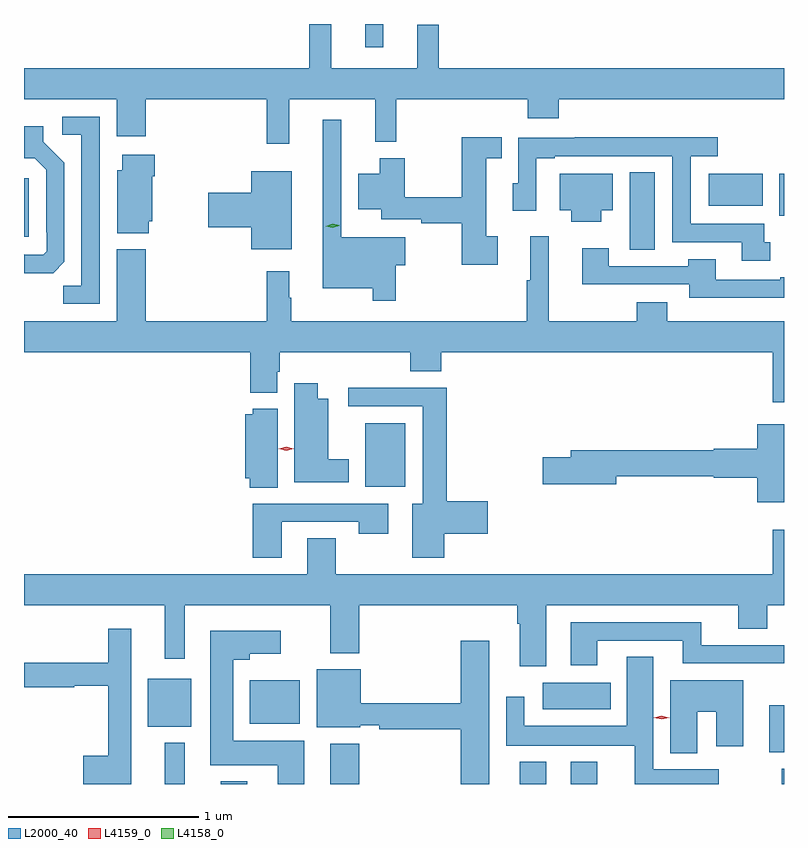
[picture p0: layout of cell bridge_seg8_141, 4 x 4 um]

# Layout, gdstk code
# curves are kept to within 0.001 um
import gdstk
lib = gdstk.Library(unit=1e-6, precision=1e-09)
def R(c, l, rs):  # rectangles x0, y0, x1, y1
    for r in rs: c.add(gdstk.rectangle(r[:2], r[2:], *l))
def P(c, l, *ps):  # polygons
    for p in ps: c.add(gdstk.Polygon(p, *l))
L2000_40 = (2000, 40)
L4158_0 = (4158, 0)
L4159_0 = (4159, 0)

bridge_seg8_141 = lib.new_cell('bridge_seg8_141')
R(bridge_seg8_141, L2000_40, [(527.651,1151.524,527.755,1151.74), (527.945,1151.524,528.085,1151.539), (528.521,1151.524,528.674,1151.737), (529.517,1151.524,529.657,1151.641), (529.787,1151.524,529.927,1151.641), (530.896,1151.524,530.909,1151.605), (530.831,1151.69,530.909,1151.938), (527.561,1151.825,527.788,1152.079), (528.098,1151.84,528.361,1152.07), (529.638,1151.918,529.996,1152.058), (528.704,1153.088,528.916,1153.423), (530.096,1154.335,530.23,1154.744), (526.909,1154.403,526.935,1154.713), (530.885,1154.516,530.909,1154.737), (530.513,1154.567,530.797,1154.737), (528.704,1155.402,528.801,1155.524)])
P(bridge_seg8_141, L2000_40, [(528.527,1155.524),(528.409,1155.524),(528.409,1155.292),(526.909,1155.292),(526.909,1155.128),(527.396,1155.128),(527.396,1154.934),(527.549,1154.934),(527.549,1155.128),(528.187,1155.128),(528.187,1154.895),(528.305,1154.895),(528.305,1155.128),(528.758,1155.128),(528.758,1154.903),(528.868,1154.903),(528.868,1155.128),(529.559,1155.128),(529.559,1155.029),(529.724,1155.029),(529.724,1155.128),(530.909,1155.128),(530.909,1155.292),(529.093,1155.292),(529.093,1155.52),(528.98,1155.52),(528.98,1155.292),(528.527,1155.292)],
  [(527.307,1155.036),(527.109,1155.036),(527.109,1154.94),(527.211,1154.94),(527.211,1154.147),(527.116,1154.147),(527.116,1154.052),(527.307,1154.052)],
  [(528.865,1154.254),(528.916,1154.254),(528.916,1154.401),(528.579,1154.401),(528.579,1155.019),(528.482,1155.019),(528.482,1154.132),(528.744,1154.132),(528.744,1154.067),(528.865,1154.067)],
  [(526.961,1154.213),(527.062,1154.213),(527.121,1154.272),(527.121,1154.794),(527.011,1154.904),(527.011,1154.986),(526.909,1154.986),(526.909,1154.817),(526.965,1154.817),(527.025,1154.757),(527.025,1154.428),(527.028,1154.428),(527.028,1154.328),(527.01,1154.31),(526.91,1154.31),(526.909,1154.313),(526.909,1154.212)],
  [(530.836,1154.375),(530.804,1154.375),(530.804,1154.472),(530.418,1154.472),(530.418,1154.829),(530.56,1154.829),(530.56,1154.927),(529.807,1154.927),(529.807,1154.925),(529.509,1154.925),(529.509,1154.685),(529.481,1154.685),(529.481,1154.541),(529.605,1154.541),(529.605,1154.817),(529.702,1154.817),(529.702,1154.829),(530.322,1154.829),(530.322,1154.376),(530.687,1154.376),(530.687,1154.277),(530.836,1154.277)],
  [(529.402,1154.406),(529.342,1154.406),(529.342,1154.817),(529.424,1154.817),(529.424,1154.927),(529.213,1154.927),(529.213,1154.612),(528.912,1154.612),(528.912,1154.818),(528.782,1154.818),(528.782,1154.737),(528.668,1154.737),(528.668,1154.549),(528.788,1154.549),(528.788,1154.496),(529,1154.496),(529,1154.476),(529.213,1154.476),(529.213,1154.258),(529.402,1154.258)],
  [(527.566,1154.487),(527.584,1154.487),(527.584,1154.723),(527.597,1154.723),(527.597,1154.836),(527.426,1154.836),(527.426,1154.754),(527.399,1154.754),(527.399,1154.423),(527.566,1154.423)],
  [(528.319,1154.749),(528.104,1154.749),(528.104,1154.636),(527.88,1154.636),(527.88,1154.453),(528.104,1154.453),(528.104,1154.339),(528.319,1154.339)],
  [(529.948,1154.543),(530.008,1154.543),(530.008,1154.737),(529.73,1154.737),(529.73,1154.543),(529.79,1154.543),(529.79,1154.483),(529.948,1154.483)],
  [(530.909,1153.96),(530.294,1153.96),(530.294,1154.059),(530.134,1154.059),(530.134,1153.96),(529.672,1153.96),(529.672,1154.407),(529.574,1154.407),(529.574,1154.175),(529.555,1154.175),(529.555,1153.96),(528.316,1153.96),(528.316,1154.084),(528.304,1154.084),(528.304,1154.224),(528.187,1154.224),(528.187,1153.96),(527.549,1153.96),(527.549,1154.338),(527.396,1154.338),(527.396,1153.96),(526.909,1153.96),(526.909,1153.796),(528.101,1153.796),(528.101,1153.583),(528.241,1153.583),(528.241,1153.695),(528.254,1153.695),(528.254,1153.796),(528.941,1153.796),(528.941,1153.697),(529.106,1153.697),(529.106,1153.796),(530.851,1153.796),(530.851,1153.533),(530.909,1153.533)],
  [(530.909,1154.191),(530.888,1154.191),(530.888,1154.178),(530.551,1154.178),(530.551,1154.287),(530.404,1154.287),(530.404,1154.25),(529.987,1154.25),(529.987,1154.344),(529.847,1154.344),(529.847,1154.154),(530.411,1154.154),(530.411,1154.082),(530.909,1154.082)],
  [(528.619,1153.234),(528.511,1153.234),(528.511,1153.552),(528.454,1153.552),(528.454,1153.633),(528.332,1153.633),(528.332,1153.112),(528.619,1153.112)],
  [(529.12,1152.842),(529.351,1152.842),(529.351,1153.013),(529.133,1153.013),(529.133,1153.61),(528.615,1153.61),(528.615,1153.512),(529.007,1153.512),(529.007,1153),(528.953,1153),(528.953,1152.714),(529.12,1152.714)],
  [(528.244,1153.498),(528.114,1153.498),(528.114,1153.47),(528.074,1153.47),(528.074,1153.134),(528.098,1153.134),(528.098,1153.084),(528.244,1153.084)],
  [(530.909,1153.417),(530.768,1153.417),(530.768,1153.288),(530.538,1153.288),(530.538,1153.28),(529.787,1153.28),(529.787,1153.244),(529.638,1153.244),(529.638,1153.102),(530.026,1153.102),(530.026,1153.144),(530.538,1153.144),(530.538,1153.136),(530.768,1153.136),(530.768,1153.007),(530.909,1153.007)],
  [(528.265,1152.903),(528.67,1152.903),(528.67,1152.84),(528.826,1152.84),(528.826,1152.999),(528.113,1152.999),(528.113,1152.714),(528.265,1152.714)],
  [(529.657,1152.464),(530.669,1152.464),(530.669,1152.34),(530.822,1152.34),(530.822,1152.464),(530.909,1152.464),(530.909,1152.862),(530.851,1152.862),(530.851,1152.628),(528.549,1152.628),(528.549,1152.818),(528.401,1152.818),(528.401,1152.628),(526.909,1152.628),(526.909,1152.464),(527.651,1152.464),(527.651,1152.183),(527.755,1152.183),(527.755,1152.464),(528.521,1152.464),(528.521,1152.212),(528.674,1152.212),(528.674,1152.464),(529.505,1152.464),(529.505,1152.368),(529.517,1152.368),(529.517,1152.144),(529.657,1152.144)],
  [(529.927,1152.279),(530.375,1152.279),(530.375,1152.159),(530.909,1152.159),(530.909,1152.255),(530.474,1152.255),(530.474,1152.375),(529.787,1152.375),(529.787,1152.15),(529.927,1152.15)],
  [(527.473,1152.34),(527.352,1152.34),(527.352,1152.163),(526.909,1152.163),(526.909,1152.034),(527.173,1152.034),(527.173,1152.042),(527.352,1152.042),(527.352,1151.674),(527.222,1151.674),(527.222,1151.524),(527.473,1151.524)],
  [(528.385,1151.752),(528.01,1151.752),(528.01,1152.179),(528.097,1152.179),(528.097,1152.209),(528.259,1152.209),(528.259,1152.331),(527.888,1152.331),(527.888,1151.624),(528.245,1151.624),(528.245,1151.524),(528.385,1151.524)],
  [(529.357,1152.277),(529.208,1152.277),(529.208,1151.948),(528.682,1151.948),(528.682,1152.127),(528.449,1152.127),(528.449,1151.822),(528.678,1151.822),(528.678,1151.832),(528.778,1151.832),(528.778,1151.812),(529.208,1151.812),(529.208,1151.524),(529.357,1151.524)],
  [(530.566,1151.601),(530.221,1151.601),(530.221,1152.194),(530.081,1152.194),(530.081,1151.83),(529.542,1151.83),(529.542,1151.983),(529.446,1151.983),(529.446,1151.726),(530.123,1151.726),(530.123,1151.524),(530.566,1151.524)],
  [(530.452,1151.905),(530.552,1151.905),(530.552,1151.724),(530.695,1151.724),(530.695,1152.07),(530.309,1152.07),(530.309,1151.686),(530.452,1151.686)])
P(bridge_seg8_141, L4158_0, [(528.534,1154.452),(528.498,1154.46),(528.498,1154.46),(528.498,1154.46),(528.533,1154.472),(528.568,1154.464),(528.569,1154.464),(528.568,1154.463)])
P(bridge_seg8_141, L4159_0, [(528.289,1153.279),(528.25,1153.289),(528.25,1153.289),(528.25,1153.289),(528.289,1153.299),(528.328,1153.289),(528.328,1153.289),(528.328,1153.289)],
  [(530.265,1151.864),(530.224,1151.873),(530.224,1151.873),(530.224,1151.874),(530.264,1151.883),(530.305,1151.874),(530.305,1151.874),(530.305,1151.873)])

lib.write_gds('bridge_seg8_141.gds')
